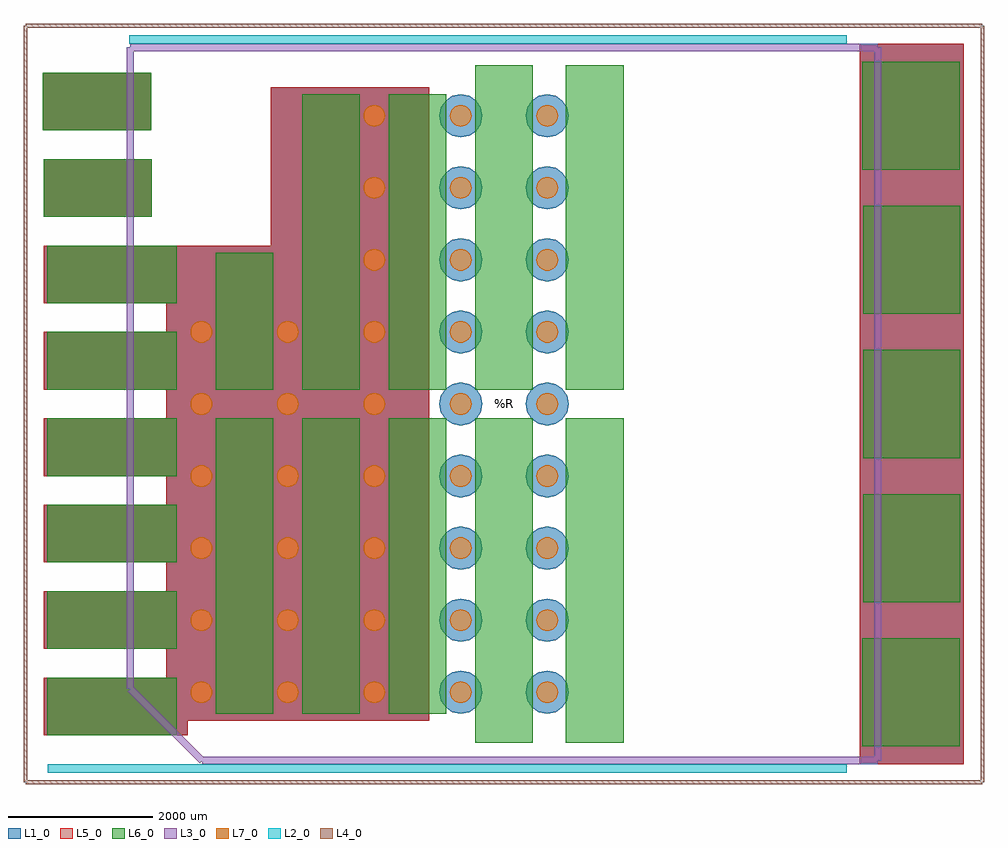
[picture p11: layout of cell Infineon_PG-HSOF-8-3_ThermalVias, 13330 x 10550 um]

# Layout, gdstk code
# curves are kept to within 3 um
import gdstk
lib = gdstk.Library(unit=1e-6, precision=1e-09)
def R(c, l, rs):  # rectangles x0, y0, x1, y1
    for r in rs: c.add(gdstk.rectangle(r[:2], r[2:], *l))
def A(c, l, x, y, w, h, nx, ny, dx, dy):  # array of equal rectangles
    R(c, l, [(x+i*dx, y+j*dy, x+i*dx+w, y+j*dy+h) for i in range(nx) for j in range(ny)])
def P(c, l, *ps):  # polygons
    for p in ps: c.add(gdstk.Polygon(p, *l))
L1_0 = (1, 0)
L2_0 = (2, 0)
L3_0 = (3, 0)
L4_0 = (4, 0)
L5_0 = (5, 0)
L6_0 = (6, 0)
L7_0 = (7, 0)

infineon_pg_hsof_8_3_the = lib.new_cell('Infineon_PG-HSOF-8-3_ThermalVias')
R(infineon_pg_hsof_8_3_the, L1_0, [(4935,-5000,6385,5000), (-6390,2600,-4890,3400), (-6400,3800,-4900,4600)])
P(infineon_pg_hsof_8_3_the, L1_0, [(900,1000),(877,1115),(812,1212),(715,1277),(600,1300),(485,1277),(388,1212),(323,1115),(300,1000),(323,885),(388,788),(485,723),(600,700),(715,723),(812,788),(877,885)],
  [(900,2000),(877,2115),(812,2212),(715,2277),(600,2300),(485,2277),(388,2212),(323,2115),(300,2000),(323,1885),(388,1788),(485,1723),(600,1700),(715,1723),(812,1788),(877,1885)],
  [(900,3000),(877,3115),(812,3212),(715,3277),(600,3300),(485,3277),(388,3212),(323,3115),(300,3000),(323,2885),(388,2788),(485,2723),(600,2700),(715,2723),(812,2788),(877,2885)],
  [(900,0),(877,115),(812,212),(715,277),(600,300),(485,277),(388,212),(323,115),(300,0),(323,-115),(388,-212),(485,-277),(600,-300),(715,-277),(812,-212),(877,-115)],
  [(900,-1000),(877,-885),(812,-788),(715,-723),(600,-700),(485,-723),(388,-788),(323,-885),(300,-1000),(323,-1115),(388,-1212),(485,-1277),(600,-1300),(715,-1277),(812,-1212),(877,-1115)],
  [(900,-2000),(877,-1885),(812,-1788),(715,-1723),(600,-1700),(485,-1723),(388,-1788),(323,-1885),(300,-2000),(323,-2115),(388,-2212),(485,-2277),(600,-2300),(715,-2277),(812,-2212),(877,-2115)],
  [(900,-3000),(877,-2885),(812,-2788),(715,-2723),(600,-2700),(485,-2723),(388,-2788),(323,-2885),(300,-3000),(323,-3115),(388,-3212),(485,-3277),(600,-3300),(715,-3277),(812,-3212),(877,-3115)],
  [(-1040,-4400),(-1040,4400),(-3240,4400),(-3240,2200),(-6390,2200),(-6390,1400),(-4690,1400),(-4690,1000),(-6390,1000),(-6390,200),(-4690,200),(-4690,-200),(-6390,-200),(-6390,-1000),(-4690,-1000),(-4690,-1400),(-6390,-1400),(-6390,-2200),(-4690,-2200),(-4690,-2600),(-6390,-2600),(-6390,-3400),(-4690,-3400),(-4690,-3800),(-6390,-3800),(-6390,-4600),(-4390,-4600),(-4390,-4400)],
  [(900,-4000),(877,-3885),(812,-3788),(715,-3723),(600,-3700),(485,-3723),(388,-3788),(323,-3885),(300,-4000),(323,-4115),(388,-4212),(485,-4277),(600,-4300),(715,-4277),(812,-4212),(877,-4115)],
  [(900,4000),(877,4115),(812,4212),(715,4277),(600,4300),(485,4277),(388,4212),(323,4115),(300,4000),(323,3885),(388,3788),(485,3723),(600,3700),(715,3723),(812,3788),(877,3885)],
  [(-300,0),(-323,115),(-388,212),(-485,277),(-600,300),(-715,277),(-812,212),(-877,115),(-900,0),(-877,-115),(-812,-212),(-715,-277),(-600,-300),(-485,-277),(-388,-212),(-323,-115)],
  [(-300,2000),(-323,2115),(-388,2212),(-485,2277),(-600,2300),(-715,2277),(-812,2212),(-877,2115),(-900,2000),(-877,1885),(-812,1788),(-715,1723),(-600,1700),(-485,1723),(-388,1788),(-323,1885)],
  [(-300,-2000),(-323,-1885),(-388,-1788),(-485,-1723),(-600,-1700),(-715,-1723),(-812,-1788),(-877,-1885),(-900,-2000),(-877,-2115),(-812,-2212),(-715,-2277),(-600,-2300),(-485,-2277),(-388,-2212),(-323,-2115)],
  [(-300,-4000),(-323,-3885),(-388,-3788),(-485,-3723),(-600,-3700),(-715,-3723),(-812,-3788),(-877,-3885),(-900,-4000),(-877,-4115),(-812,-4212),(-715,-4277),(-600,-4300),(-485,-4277),(-388,-4212),(-323,-4115)],
  [(-300,4000),(-323,4115),(-388,4212),(-485,4277),(-600,4300),(-715,4277),(-812,4212),(-877,4115),(-900,4000),(-877,3885),(-812,3788),(-715,3723),(-600,3700),(-485,3723),(-388,3788),(-323,3885)],
  [(-300,-1000),(-323,-885),(-388,-788),(-485,-723),(-600,-700),(-715,-723),(-812,-788),(-877,-885),(-900,-1000),(-877,-1115),(-812,-1212),(-715,-1277),(-600,-1300),(-485,-1277),(-388,-1212),(-323,-1115)],
  [(-300,-3000),(-323,-2885),(-388,-2788),(-485,-2723),(-600,-2700),(-715,-2723),(-812,-2788),(-877,-2885),(-900,-3000),(-877,-3115),(-812,-3212),(-715,-3277),(-600,-3300),(-485,-3277),(-388,-3212),(-323,-3115)],
  [(-300,1000),(-323,1115),(-388,1212),(-485,1277),(-600,1300),(-715,1277),(-812,1212),(-877,1115),(-900,1000),(-877,885),(-812,788),(-715,723),(-600,700),(-485,723),(-388,788),(-323,885)],
  [(-300,3000),(-323,3115),(-388,3212),(-485,3277),(-600,3300),(-715,3277),(-812,3212),(-877,3115),(-900,3000),(-877,2885),(-812,2788),(-715,2723),(-600,2700),(-485,2723),(-388,2788),(-323,2885)],
  [(-1500,-4000),(-1523,-3885),(-1588,-3788),(-1685,-3723),(-1800,-3700),(-1915,-3723),(-2012,-3788),(-2077,-3885),(-2100,-4000),(-2077,-4115),(-2012,-4212),(-1915,-4277),(-1800,-4300),(-1685,-4277),(-1588,-4212),(-1523,-4115)],
  [(-1500,2000),(-1523,2115),(-1588,2212),(-1685,2277),(-1800,2300),(-1915,2277),(-2012,2212),(-2077,2115),(-2100,2000),(-2077,1885),(-2012,1788),(-1915,1723),(-1800,1700),(-1685,1723),(-1588,1788),(-1523,1885)],
  [(-1500,-3000),(-1523,-2885),(-1588,-2788),(-1685,-2723),(-1800,-2700),(-1915,-2723),(-2012,-2788),(-2077,-2885),(-2100,-3000),(-2077,-3115),(-2012,-3212),(-1915,-3277),(-1800,-3300),(-1685,-3277),(-1588,-3212),(-1523,-3115)],
  [(-1500,4000),(-1523,4115),(-1588,4212),(-1685,4277),(-1800,4300),(-1915,4277),(-2012,4212),(-2077,4115),(-2100,4000),(-2077,3885),(-2012,3788),(-1915,3723),(-1800,3700),(-1685,3723),(-1588,3788),(-1523,3885)],
  [(-1500,0),(-1523,115),(-1588,212),(-1685,277),(-1800,300),(-1915,277),(-2012,212),(-2077,115),(-2100,0),(-2077,-115),(-2012,-212),(-1915,-277),(-1800,-300),(-1685,-277),(-1588,-212),(-1523,-115)],
  [(-1500,3000),(-1523,3115),(-1588,3212),(-1685,3277),(-1800,3300),(-1915,3277),(-2012,3212),(-2077,3115),(-2100,3000),(-2077,2885),(-2012,2788),(-1915,2723),(-1800,2700),(-1685,2723),(-1588,2788),(-1523,2885)],
  [(-1500,-1000),(-1523,-885),(-1588,-788),(-1685,-723),(-1800,-700),(-1915,-723),(-2012,-788),(-2077,-885),(-2100,-1000),(-2077,-1115),(-2012,-1212),(-1915,-1277),(-1800,-1300),(-1685,-1277),(-1588,-1212),(-1523,-1115)],
  [(-1500,-2000),(-1523,-1885),(-1588,-1788),(-1685,-1723),(-1800,-1700),(-1915,-1723),(-2012,-1788),(-2077,-1885),(-2100,-2000),(-2077,-2115),(-2012,-2212),(-1915,-2277),(-1800,-2300),(-1685,-2277),(-1588,-2212),(-1523,-2115)],
  [(-1500,1000),(-1523,1115),(-1588,1212),(-1685,1277),(-1800,1300),(-1915,1277),(-2012,1212),(-2077,1115),(-2100,1000),(-2077,885),(-2012,788),(-1915,723),(-1800,700),(-1685,723),(-1588,788),(-1523,885)],
  [(-2700,-3000),(-2723,-2885),(-2788,-2788),(-2885,-2723),(-3000,-2700),(-3115,-2723),(-3212,-2788),(-3277,-2885),(-3300,-3000),(-3277,-3115),(-3212,-3212),(-3115,-3277),(-3000,-3300),(-2885,-3277),(-2788,-3212),(-2723,-3115)],
  [(-2700,0),(-2723,115),(-2788,212),(-2885,277),(-3000,300),(-3115,277),(-3212,212),(-3277,115),(-3300,0),(-3277,-115),(-3212,-212),(-3115,-277),(-3000,-300),(-2885,-277),(-2788,-212),(-2723,-115)],
  [(-2700,-4000),(-2723,-3885),(-2788,-3788),(-2885,-3723),(-3000,-3700),(-3115,-3723),(-3212,-3788),(-3277,-3885),(-3300,-4000),(-3277,-4115),(-3212,-4212),(-3115,-4277),(-3000,-4300),(-2885,-4277),(-2788,-4212),(-2723,-4115)],
  [(-2700,-1000),(-2723,-885),(-2788,-788),(-2885,-723),(-3000,-700),(-3115,-723),(-3212,-788),(-3277,-885),(-3300,-1000),(-3277,-1115),(-3212,-1212),(-3115,-1277),(-3000,-1300),(-2885,-1277),(-2788,-1212),(-2723,-1115)],
  [(-2700,-2000),(-2723,-1885),(-2788,-1788),(-2885,-1723),(-3000,-1700),(-3115,-1723),(-3212,-1788),(-3277,-1885),(-3300,-2000),(-3277,-2115),(-3212,-2212),(-3115,-2277),(-3000,-2300),(-2885,-2277),(-2788,-2212),(-2723,-2115)],
  [(-2700,1000),(-2723,1115),(-2788,1212),(-2885,1277),(-3000,1300),(-3115,1277),(-3212,1212),(-3277,1115),(-3300,1000),(-3277,885),(-3212,788),(-3115,723),(-3000,700),(-2885,723),(-2788,788),(-2723,885)],
  [(-3900,-3000),(-3923,-2885),(-3988,-2788),(-4085,-2723),(-4200,-2700),(-4315,-2723),(-4412,-2788),(-4477,-2885),(-4500,-3000),(-4477,-3115),(-4412,-3212),(-4315,-3277),(-4200,-3300),(-4085,-3277),(-3988,-3212),(-3923,-3115)],
  [(-3900,0),(-3923,115),(-3988,212),(-4085,277),(-4200,300),(-4315,277),(-4412,212),(-4477,115),(-4500,0),(-4477,-115),(-4412,-212),(-4315,-277),(-4200,-300),(-4085,-277),(-3988,-212),(-3923,-115)],
  [(-3900,-4000),(-3923,-3885),(-3988,-3788),(-4085,-3723),(-4200,-3700),(-4315,-3723),(-4412,-3788),(-4477,-3885),(-4500,-4000),(-4477,-4115),(-4412,-4212),(-4315,-4277),(-4200,-4300),(-4085,-4277),(-3988,-4212),(-3923,-4115)],
  [(-3900,-1000),(-3923,-885),(-3988,-788),(-4085,-723),(-4200,-700),(-4315,-723),(-4412,-788),(-4477,-885),(-4500,-1000),(-4477,-1115),(-4412,-1212),(-4315,-1277),(-4200,-1300),(-4085,-1277),(-3988,-1212),(-3923,-1115)],
  [(-3900,1000),(-3923,1115),(-3988,1212),(-4085,1277),(-4200,1300),(-4315,1277),(-4412,1212),(-4477,1115),(-4500,1000),(-4477,885),(-4412,788),(-4315,723),(-4200,700),(-4085,723),(-3988,788),(-3923,885)],
  [(-3900,-2000),(-3923,-1885),(-3988,-1788),(-4085,-1723),(-4200,-1700),(-4315,-1723),(-4412,-1788),(-4477,-1885),(-4500,-2000),(-4477,-2115),(-4412,-2212),(-4315,-2277),(-4200,-2300),(-4085,-2277),(-3988,-2212),(-3923,-2115)])
R(infineon_pg_hsof_8_3_the, L5_0, [(4935,-5000,6385,5000), (-6390,2600,-4890,3400), (-6400,3800,-4900,4600)])
P(infineon_pg_hsof_8_3_the, L5_0, [(-1040,-4400),(-1040,4400),(-3240,4400),(-3240,2200),(-6390,2200),(-6390,1400),(-4690,1400),(-4690,1000),(-6390,1000),(-6390,200),(-4690,200),(-4690,-200),(-6390,-200),(-6390,-1000),(-4690,-1000),(-4690,-1400),(-6390,-1400),(-6390,-2200),(-4690,-2200),(-4690,-2600),(-6390,-2600),(-6390,-3400),(-4690,-3400),(-4690,-3800),(-6390,-3800),(-6390,-4600),(-4390,-4600),(-4390,-4400)])
A(infineon_pg_hsof_8_3_the, L6_0, -6340, -4600, 1800, 800, 1, 6, 0, 1200)
A(infineon_pg_hsof_8_3_the, L6_0, -4000, -4300, 800, 4100, 3, 1, 1200, 0)
A(infineon_pg_hsof_8_3_the, L6_0, 4985, -2750, 1350, 1500, 1, 3, 0, 2000)
R(infineon_pg_hsof_8_3_the, L6_0, [(4975,-4750,6325,-3250), (-400,-4700,400,-200), (860,-4700,1660,-200), (-4000,200,-3200,2100), (-2800,200,-2000,4300), (-1600,200,-800,4300), (-400,200,400,4700), (860,200,1660,4700), (-6390,2600,-4890,3400), (4975,3250,6325,4750), (-6400,3800,-4900,4600)])
P(infineon_pg_hsof_8_3_the, L7_0, [(750,1000),(739,1057),(706,1106),(657,1139),(600,1150),(543,1139),(494,1106),(461,1057),(450,1000),(461,943),(494,894),(543,861),(600,850),(657,861),(706,894),(739,943)],
  [(750,2000),(739,2057),(706,2106),(657,2139),(600,2150),(543,2139),(494,2106),(461,2057),(450,2000),(461,1943),(494,1894),(543,1861),(600,1850),(657,1861),(706,1894),(739,1943)],
  [(750,3000),(739,3057),(706,3106),(657,3139),(600,3150),(543,3139),(494,3106),(461,3057),(450,3000),(461,2943),(494,2894),(543,2861),(600,2850),(657,2861),(706,2894),(739,2943)],
  [(750,0),(739,57),(706,106),(657,139),(600,150),(543,139),(494,106),(461,57),(450,0),(461,-57),(494,-106),(543,-139),(600,-150),(657,-139),(706,-106),(739,-57)],
  [(750,-1000),(739,-943),(706,-894),(657,-861),(600,-850),(543,-861),(494,-894),(461,-943),(450,-1000),(461,-1057),(494,-1106),(543,-1139),(600,-1150),(657,-1139),(706,-1106),(739,-1057)],
  [(750,-2000),(739,-1943),(706,-1894),(657,-1861),(600,-1850),(543,-1861),(494,-1894),(461,-1943),(450,-2000),(461,-2057),(494,-2106),(543,-2139),(600,-2150),(657,-2139),(706,-2106),(739,-2057)],
  [(750,-3000),(739,-2943),(706,-2894),(657,-2861),(600,-2850),(543,-2861),(494,-2894),(461,-2943),(450,-3000),(461,-3057),(494,-3106),(543,-3139),(600,-3150),(657,-3139),(706,-3106),(739,-3057)],
  [(750,-4000),(739,-3943),(706,-3894),(657,-3861),(600,-3850),(543,-3861),(494,-3894),(461,-3943),(450,-4000),(461,-4057),(494,-4106),(543,-4139),(600,-4150),(657,-4139),(706,-4106),(739,-4057)],
  [(750,4000),(739,4057),(706,4106),(657,4139),(600,4150),(543,4139),(494,4106),(461,4057),(450,4000),(461,3943),(494,3894),(543,3861),(600,3850),(657,3861),(706,3894),(739,3943)],
  [(-450,0),(-461,57),(-494,106),(-543,139),(-600,150),(-657,139),(-706,106),(-739,57),(-750,0),(-739,-57),(-706,-106),(-657,-139),(-600,-150),(-543,-139),(-494,-106),(-461,-57)],
  [(-450,2000),(-461,2057),(-494,2106),(-543,2139),(-600,2150),(-657,2139),(-706,2106),(-739,2057),(-750,2000),(-739,1943),(-706,1894),(-657,1861),(-600,1850),(-543,1861),(-494,1894),(-461,1943)],
  [(-450,-2000),(-461,-1943),(-494,-1894),(-543,-1861),(-600,-1850),(-657,-1861),(-706,-1894),(-739,-1943),(-750,-2000),(-739,-2057),(-706,-2106),(-657,-2139),(-600,-2150),(-543,-2139),(-494,-2106),(-461,-2057)],
  [(-450,-4000),(-461,-3943),(-494,-3894),(-543,-3861),(-600,-3850),(-657,-3861),(-706,-3894),(-739,-3943),(-750,-4000),(-739,-4057),(-706,-4106),(-657,-4139),(-600,-4150),(-543,-4139),(-494,-4106),(-461,-4057)],
  [(-450,4000),(-461,4057),(-494,4106),(-543,4139),(-600,4150),(-657,4139),(-706,4106),(-739,4057),(-750,4000),(-739,3943),(-706,3894),(-657,3861),(-600,3850),(-543,3861),(-494,3894),(-461,3943)],
  [(-450,-1000),(-461,-943),(-494,-894),(-543,-861),(-600,-850),(-657,-861),(-706,-894),(-739,-943),(-750,-1000),(-739,-1057),(-706,-1106),(-657,-1139),(-600,-1150),(-543,-1139),(-494,-1106),(-461,-1057)],
  [(-450,-3000),(-461,-2943),(-494,-2894),(-543,-2861),(-600,-2850),(-657,-2861),(-706,-2894),(-739,-2943),(-750,-3000),(-739,-3057),(-706,-3106),(-657,-3139),(-600,-3150),(-543,-3139),(-494,-3106),(-461,-3057)],
  [(-450,1000),(-461,1057),(-494,1106),(-543,1139),(-600,1150),(-657,1139),(-706,1106),(-739,1057),(-750,1000),(-739,943),(-706,894),(-657,861),(-600,850),(-543,861),(-494,894),(-461,943)],
  [(-450,3000),(-461,3057),(-494,3106),(-543,3139),(-600,3150),(-657,3139),(-706,3106),(-739,3057),(-750,3000),(-739,2943),(-706,2894),(-657,2861),(-600,2850),(-543,2861),(-494,2894),(-461,2943)],
  [(-1650,-4000),(-1661,-3943),(-1694,-3894),(-1743,-3861),(-1800,-3850),(-1857,-3861),(-1906,-3894),(-1939,-3943),(-1950,-4000),(-1939,-4057),(-1906,-4106),(-1857,-4139),(-1800,-4150),(-1743,-4139),(-1694,-4106),(-1661,-4057)],
  [(-1650,2000),(-1661,2057),(-1694,2106),(-1743,2139),(-1800,2150),(-1857,2139),(-1906,2106),(-1939,2057),(-1950,2000),(-1939,1943),(-1906,1894),(-1857,1861),(-1800,1850),(-1743,1861),(-1694,1894),(-1661,1943)],
  [(-1650,-3000),(-1661,-2943),(-1694,-2894),(-1743,-2861),(-1800,-2850),(-1857,-2861),(-1906,-2894),(-1939,-2943),(-1950,-3000),(-1939,-3057),(-1906,-3106),(-1857,-3139),(-1800,-3150),(-1743,-3139),(-1694,-3106),(-1661,-3057)],
  [(-1650,4000),(-1661,4057),(-1694,4106),(-1743,4139),(-1800,4150),(-1857,4139),(-1906,4106),(-1939,4057),(-1950,4000),(-1939,3943),(-1906,3894),(-1857,3861),(-1800,3850),(-1743,3861),(-1694,3894),(-1661,3943)],
  [(-1650,0),(-1661,57),(-1694,106),(-1743,139),(-1800,150),(-1857,139),(-1906,106),(-1939,57),(-1950,0),(-1939,-57),(-1906,-106),(-1857,-139),(-1800,-150),(-1743,-139),(-1694,-106),(-1661,-57)],
  [(-1650,3000),(-1661,3057),(-1694,3106),(-1743,3139),(-1800,3150),(-1857,3139),(-1906,3106),(-1939,3057),(-1950,3000),(-1939,2943),(-1906,2894),(-1857,2861),(-1800,2850),(-1743,2861),(-1694,2894),(-1661,2943)],
  [(-1650,-1000),(-1661,-943),(-1694,-894),(-1743,-861),(-1800,-850),(-1857,-861),(-1906,-894),(-1939,-943),(-1950,-1000),(-1939,-1057),(-1906,-1106),(-1857,-1139),(-1800,-1150),(-1743,-1139),(-1694,-1106),(-1661,-1057)],
  [(-1650,-2000),(-1661,-1943),(-1694,-1894),(-1743,-1861),(-1800,-1850),(-1857,-1861),(-1906,-1894),(-1939,-1943),(-1950,-2000),(-1939,-2057),(-1906,-2106),(-1857,-2139),(-1800,-2150),(-1743,-2139),(-1694,-2106),(-1661,-2057)],
  [(-1650,1000),(-1661,1057),(-1694,1106),(-1743,1139),(-1800,1150),(-1857,1139),(-1906,1106),(-1939,1057),(-1950,1000),(-1939,943),(-1906,894),(-1857,861),(-1800,850),(-1743,861),(-1694,894),(-1661,943)],
  [(-2850,-3000),(-2861,-2943),(-2894,-2894),(-2943,-2861),(-3000,-2850),(-3057,-2861),(-3106,-2894),(-3139,-2943),(-3150,-3000),(-3139,-3057),(-3106,-3106),(-3057,-3139),(-3000,-3150),(-2943,-3139),(-2894,-3106),(-2861,-3057)],
  [(-2850,0),(-2861,57),(-2894,106),(-2943,139),(-3000,150),(-3057,139),(-3106,106),(-3139,57),(-3150,0),(-3139,-57),(-3106,-106),(-3057,-139),(-3000,-150),(-2943,-139),(-2894,-106),(-2861,-57)],
  [(-2850,-4000),(-2861,-3943),(-2894,-3894),(-2943,-3861),(-3000,-3850),(-3057,-3861),(-3106,-3894),(-3139,-3943),(-3150,-4000),(-3139,-4057),(-3106,-4106),(-3057,-4139),(-3000,-4150),(-2943,-4139),(-2894,-4106),(-2861,-4057)],
  [(-2850,-1000),(-2861,-943),(-2894,-894),(-2943,-861),(-3000,-850),(-3057,-861),(-3106,-894),(-3139,-943),(-3150,-1000),(-3139,-1057),(-3106,-1106),(-3057,-1139),(-3000,-1150),(-2943,-1139),(-2894,-1106),(-2861,-1057)],
  [(-2850,-2000),(-2861,-1943),(-2894,-1894),(-2943,-1861),(-3000,-1850),(-3057,-1861),(-3106,-1894),(-3139,-1943),(-3150,-2000),(-3139,-2057),(-3106,-2106),(-3057,-2139),(-3000,-2150),(-2943,-2139),(-2894,-2106),(-2861,-2057)],
  [(-2850,1000),(-2861,1057),(-2894,1106),(-2943,1139),(-3000,1150),(-3057,1139),(-3106,1106),(-3139,1057),(-3150,1000),(-3139,943),(-3106,894),(-3057,861),(-3000,850),(-2943,861),(-2894,894),(-2861,943)],
  [(-4050,-3000),(-4061,-2943),(-4094,-2894),(-4143,-2861),(-4200,-2850),(-4257,-2861),(-4306,-2894),(-4339,-2943),(-4350,-3000),(-4339,-3057),(-4306,-3106),(-4257,-3139),(-4200,-3150),(-4143,-3139),(-4094,-3106),(-4061,-3057)],
  [(-4050,0),(-4061,57),(-4094,106),(-4143,139),(-4200,150),(-4257,139),(-4306,106),(-4339,57),(-4350,0),(-4339,-57),(-4306,-106),(-4257,-139),(-4200,-150),(-4143,-139),(-4094,-106),(-4061,-57)],
  [(-4050,-4000),(-4061,-3943),(-4094,-3894),(-4143,-3861),(-4200,-3850),(-4257,-3861),(-4306,-3894),(-4339,-3943),(-4350,-4000),(-4339,-4057),(-4306,-4106),(-4257,-4139),(-4200,-4150),(-4143,-4139),(-4094,-4106),(-4061,-4057)],
  [(-4050,-1000),(-4061,-943),(-4094,-894),(-4143,-861),(-4200,-850),(-4257,-861),(-4306,-894),(-4339,-943),(-4350,-1000),(-4339,-1057),(-4306,-1106),(-4257,-1139),(-4200,-1150),(-4143,-1139),(-4094,-1106),(-4061,-1057)],
  [(-4050,1000),(-4061,1057),(-4094,1106),(-4143,1139),(-4200,1150),(-4257,1139),(-4306,1106),(-4339,1057),(-4350,1000),(-4339,943),(-4306,894),(-4257,861),(-4200,850),(-4143,861),(-4094,894),(-4061,943)],
  [(-4050,-2000),(-4061,-1943),(-4094,-1894),(-4143,-1861),(-4200,-1850),(-4257,-1861),(-4306,-1894),(-4339,-1943),(-4350,-2000),(-4339,-2057),(-4306,-2106),(-4257,-2139),(-4200,-2150),(-4143,-2139),(-4094,-2106),(-4061,-2057)])
infineon_pg_hsof_8_3_the.add(gdstk.FlexPath([(-4188,-4950),(-5188,-3950)], 100, ends="flush", simple_path=True, layer=3, datatype=0))  # L3_0
infineon_pg_hsof_8_3_the.add(gdstk.FlexPath([(6640,-5250),(6640,5250)], 50, ends="flush", simple_path=True, layer=4, datatype=0))  # L4_0
infineon_pg_hsof_8_3_the.add(gdstk.FlexPath([(-6640,5250),(-6640,-5250)], 50, ends="flush", simple_path=True, layer=4, datatype=0))  # L4_0
infineon_pg_hsof_8_3_the.add(gdstk.FlexPath([(-6640,5250),(6640,5250)], 50, ends="flush", simple_path=True, layer=4, datatype=0))  # L4_0
infineon_pg_hsof_8_3_the.add(gdstk.FlexPath([(6640,-5250),(-6640,-5250)], 50, ends="flush", simple_path=True, layer=4, datatype=0))  # L4_0
infineon_pg_hsof_8_3_the.add(gdstk.FlexPath([(-5200,5060),(4755,5060)], 120, ends="flush", simple_path=True, layer=2, datatype=0))  # L2_0
infineon_pg_hsof_8_3_the.add(gdstk.FlexPath([(4755,-5060),(-6330,-5060)], 120, ends="flush", simple_path=True, layer=2, datatype=0))  # L2_0
infineon_pg_hsof_8_3_the.add(gdstk.FlexPath([(5188,-4950),(5188,4950)], 100, ends="flush", simple_path=True, layer=3, datatype=0))  # L3_0
infineon_pg_hsof_8_3_the.add(gdstk.FlexPath([(5188,4950),(-5188,4950)], 100, ends="flush", simple_path=True, layer=3, datatype=0))  # L3_0
infineon_pg_hsof_8_3_the.add(gdstk.FlexPath([(-5188,4950),(-5188,-3950)], 100, ends="flush", simple_path=True, layer=3, datatype=0))  # L3_0
infineon_pg_hsof_8_3_the.add(gdstk.FlexPath([(-4188,-4950),(5188,-4950)], 100, ends="flush", simple_path=True, layer=3, datatype=0))  # L3_0
infineon_pg_hsof_8_3_the.add(gdstk.Label('REF**', (0,-6000), layer=2, texttype=0))
infineon_pg_hsof_8_3_the.add(gdstk.Label('Infineon_PG-HSOF-8-3_ThermalVias', (0,6000), layer=3, texttype=0))
infineon_pg_hsof_8_3_the.add(gdstk.Label('%R', (0,0), layer=3, texttype=0))

lib.write_gds('Infineon_PG-HSOF-8-3_ThermalVias.gds')
